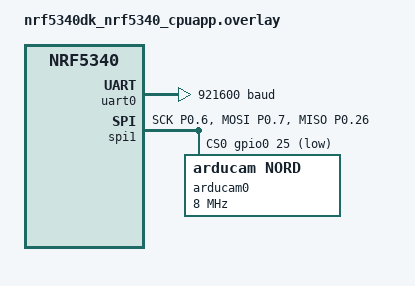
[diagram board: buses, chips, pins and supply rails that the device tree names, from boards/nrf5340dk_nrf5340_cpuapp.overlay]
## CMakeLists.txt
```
# Minimum required version must come first
cmake_minimum_required(VERSION 3.20.0)

# Tell Zephyr where your out-of-tree modules are BEFORE find_package
list(APPEND ZEPHYR_EXTRA_MODULES "C:/ncs/v3.2.0/modules/arducam_ble_wifi")

# Find Zephyr
find_package(Zephyr REQUIRED HINTS $ENV{ZEPHYR_BASE})
project(arducam_nord_wifi_ble_ncs)

# Add your application source files
file(GLOB app_sources src/*.c)
target_sources(app PRIVATE ${app_sources})

# Add your include directories
target_include_directories(app PRIVATE include)
```

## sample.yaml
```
tests:
  drivers.video.arducam_nord.build:
    tags:
      - video
      - camera
      - drivers
      - sysbuild

    platform_allow:
      - nrf5340dk_nrf5340_cpuapp

    integration_platforms:
      - nrf5340dk_nrf5340_cpuapp
```

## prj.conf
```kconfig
# SPDX-License-Identifier: LicenseRef-Nordic-5-Clause

#
# === Wi-Fi / SoftAP ===
#
CONFIG_WIFI=y
CONFIG_WIFI_NRF70=y
CONFIG_NRF70_SYSTEM_MODE=y
CONFIG_NRF70_AP_MODE=y
CONFIG_NRF70_SR_COEX=y
CONFIG_NRF70_SR_COEX_RF_SWITCH=y
CONFIG_WIFI_NM_WPA_SUPPLICANT=y
CONFIG_WIFI_NM_WPA_SUPPLICANT_AP=y
CONFIG_WIFI_NM_WPA_SUPPLICANT_LOG_LEVEL_ERR=y
CONFIG_WIFI_READY_LIB=y

CONFIG_WIFI_CREDENTIALS=y
CONFIG_WIFI_CREDENTIALS_STATIC=n
CONFIG_WIFI_CREDENTIALS_BACKEND_SETTINGS=y
CONFIG_FLASH=y
CONFIG_FLASH_PAGE_LAYOUT=y
CONFIG_FLASH_MAP=y
CONFIG_NVS=y
CONFIG_SETTINGS=y
CONFIG_SETTINGS_NVS=y

# SoftAP demo options
CONFIG_SOFTAP_SAMPLE_5GHz=y
CONFIG_SOFTAP_SAMPLE_CHANNEL=36
CONFIG_SOFTAP_SAMPLE_REG_DOMAIN="NO"
CONFIG_SOFTAP_SAMPLE_SSID="WiFi_Cam_Demo_AP"
CONFIG_SOFTAP_SAMPLE_PASSWORD="nRF7002DK"
CONFIG_SAMPLE_SCOKET_TCP=n

#
# === Shell ===
#
CONFIG_SHELL=y
CONFIG_SHELL_STACK_SIZE=4096
CONFIG_WIFI_CREDENTIALS_SHELL=y
CONFIG_SHELL_BACKEND_SERIAL=y
CONFIG_KERNEL_SHELL=n
CONFIG_DEVICE_SHELL=n
CONFIG_NET_SHELL=n

#
# === Networking ===
#
CONFIG_NETWORKING=y
CONFIG_NET_NATIVE=y
CONFIG_NET_CONNECTION_MANAGER=y
CONFIG_NET_MGMT=y
CONFIG_NET_MGMT_EVENT=y
CONFIG_NET_MGMT_EVENT_INFO=y
CONFIG_NET_MGMT_EVENT_STACK_SIZE=22000
CONFIG_NET_MGMT_EVENT_QUEUE_TIMEOUT=5000
CONFIG_NET_SOCKETS=y
CONFIG_NET_IPV4=y
CONFIG_NET_IPV6=n
CONFIG_NET_TCP=y
CONFIG_NET_UDP=y
CONFIG_NET_DHCPV4=y
CONFIG_NET_PKT_RX_COUNT=4
CONFIG_NET_PKT_TX_COUNT=4
CONFIG_NET_BUF_RX_COUNT=8
CONFIG_NET_BUF_TX_COUNT=8
CONFIG_NET_TC_TX_COUNT=1
CONFIG_NET_IF_UNICAST_IPV4_ADDR_COUNT=1
CONFIG_NET_MAX_CONTEXTS=5
CONFIG_NET_CONTEXT_SYNC_RECV=y
CONFIG_INIT_STACKS=y
CONFIG_NET_L2_ETHERNET=y

CONFIG_NET_CONFIG_SETTINGS=y
CONFIG_SETTINGS_RUNTIME=y
CONFIG_SETTINGS_DYNAMIC_HANDLERS=y
CONFIG_NET_SOCKETS_POLL_MAX=10
#CONFIG_NET_CONFIG_MY_IPV4_ADDR="192.168.1.1"
#CONFIG_NET_CONFIG_MY_IPV4_NETMASK="255.255.255.0"
#CONFIG_NET_CONFIG_MY_IPV4_GW="192.168.1.1"

#
# === Logging ===
#
CONFIG_LOG=y
CONFIG_LOG_DEFAULT_LEVEL=3
CONFIG_NET_LOG=y

#
# === DK Library ===
#
CONFIG_DK_LIBRARY=y

#
# === Bluetooth Host / Peripheral ===
#
CONFIG_BT=y
CONFIG_BT_PERIPHERAL=y
CONFIG_BT_GATT_CLIENT=y
CONFIG_BT_DEVICE_NAME="WiFi_BLE_Cam_Demo"
CONFIG_BT_DEVICE_APPEARANCE=833
CONFIG_BT_MAX_CONN=1
CONFIG_BT_MAX_PAIRED=1
CONFIG_BT_LBS=y
CONFIG_BT_HCI_VS=y
CONFIG_BT_USER_PHY_UPDATE=y
CONFIG_BT_USER_DATA_LEN_UPDATE=y
CONFIG_BT_SETTINGS=y

# BT Buffers - minimal safe values (BT present but not actively used)
# Rule: BT_BUF_EVT_RX_COUNT > BT_BUF_ACL_TX_COUNT
CONFIG_BT_BUF_ACL_RX_SIZE=69
CONFIG_BT_BUF_ACL_TX_SIZE=69
CONFIG_BT_BUF_ACL_TX_COUNT=3
CONFIG_BT_BUF_EVT_RX_COUNT=4
CONFIG_BT_ATT_PREPARE_COUNT=0
CONFIG_BT_L2CAP_TX_BUF_COUNT=3
CONFIG_BT_L2CAP_TX_MTU=65
CONFIG_BT_CONN_TX_MAX=3
CONFIG_BT_RX_STACK_SIZE=1024

#
# === Kernel / Memory ===
#
CONFIG_MAIN_STACK_SIZE=5200
CONFIG_SYSTEM_WORKQUEUE_STACK_SIZE=6144
CONFIG_NET_TX_STACK_SIZE=4096
CONFIG_NET_RX_STACK_SIZE=4096
CONFIG_HEAP_MEM_POOL_SIZE=102400
CONFIG_ENTROPY_GENERATOR=y

# Critical: BT enables MbedTLS heap but default size not enough for WiFi+BT
# From Nordic's WiFi+BT coex sample
CONFIG_MBEDTLS_HEAP_SIZE=8192
CONFIG_NRF_RPC=n
CONFIG_NRF_RPC_CBOR=n

#
# === GPIO / SPI ===
#
CONFIG_GPIO=y
CONFIG_SPI=y

#
# === Arducam Video ===
#
CONFIG_VIDEO=y
CONFIG_VIDEO_INIT_PRIORITY=72
CONFIG_VIDEO_BUFFER_POOL_SZ_MAX=8192
CONFIG_VIDEO_BUFFER_POOL_NUM_MAX=3

#
# === Console / Serial ===
#
CONFIG_CONSOLE=y
CONFIG_SERIAL=y
CONFIG_UART_CONSOLE=y
```

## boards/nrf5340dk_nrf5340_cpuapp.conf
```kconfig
# Create a board-specific file for the secure build target
# nrf5340dk_nrf5340_cpuapp.conf for ArduCAM NORD


CONFIG_WIFI_CREDENTIALS_BACKEND_SETTINGS=y
CONFIG_FLASH=y
CONFIG_FLASH_PAGE_LAYOUT=y
CONFIG_FLASH_MAP=y
CONFIG_NVS=y
CONFIG_SETTINGS=y

CONFIG_SETTINGS_NVS=y
```

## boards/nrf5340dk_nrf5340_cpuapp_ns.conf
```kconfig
# Create a board-specific file for the secure build target
# nrf5340dk_nrf5340_cpuapp_ns.conf for ArduCAM Mega
CONFIG_TFM_SECURE_UART=n
CONFIG_TFM_LOG_LEVEL_SILENCE=y

CONFIG_WIFI_CREDENTIALS_BACKEND_SETTINGS=y
CONFIG_FLASH=y
CONFIG_FLASH_PAGE_LAYOUT=y
CONFIG_FLASH_MAP=y
CONFIG_NVS=y
CONFIG_SETTINGS=y
CONFIG_SETTINGS_NVS=y
```

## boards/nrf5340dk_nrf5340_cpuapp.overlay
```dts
&i2c0 {	status = "disabled";};
&spi0 {	status = "disabled";};
&i2c1 {	status = "disabled";};

&uart0 {
    status = "okay";   /* console / logging */
    current-speed = <921600>;
};
	
&spi1 {
    label = "spi1";   // <-- KEEP THIS — matches DT_NODELABEL(spi1) in driver

    status = "okay";
    pinctrl-0 = <&spi1_default>;
    pinctrl-1 = <&spi1_sleep>;
    pinctrl-names = "default", "sleep";
    cs-gpios = <&gpio0 25 GPIO_ACTIVE_LOW>;

    arducam0: arducam@0 {
        compatible = "arducam,nord";
        reg = <0>;
        spi-max-frequency = <8000000>;
        label = "arducam0";   // for main.c
        status = "okay";
    };
};
&pinctrl {
	spi1_default: spi1_default {
		group1 {
				psels = <NRF_PSEL(SPIM_SCK, 0, 6)>,
						<NRF_PSEL(SPIM_MOSI, 0, 7)>,
						<NRF_PSEL(SPIM_MISO, 0, 26)>;
		};
	};

	spi1_sleep: spi1_sleep {
		group1 {
				psels = <NRF_PSEL(SPIM_SCK, 0, 6)>,
						<NRF_PSEL(SPIM_MOSI, 0, 7)>,
						<NRF_PSEL(SPIM_MISO, 0, 26)>;
				low-power-enable;
		};
	};
};
```

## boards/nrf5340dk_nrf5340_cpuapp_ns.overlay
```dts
&i2c0 {	status = "disabled";};
&spi0 {	status = "disabled";};
&i2c1 {	status = "disabled";};

&uart0 {
    status = "okay";   /* console / logging */
    current-speed = <921600>;
};
	
&spi1 {
    label = "spi1";   // <-- KEEP THIS — matches DT_NODELABEL(spi1) in driver

    status = "okay";
    pinctrl-0 = <&spi1_default>;
    pinctrl-1 = <&spi1_sleep>;
    pinctrl-names = "default", "sleep";
    cs-gpios = <&gpio0 25 GPIO_ACTIVE_LOW>;

    arducam0: arducam@0 {
        compatible = "arducam,nord";
        reg = <0>;
        spi-max-frequency = <8000000>;
        label = "arducam0";   // for main.c
        status = "okay";
    };
};
&pinctrl {
	spi1_default: spi1_default {
		group1 {
				psels = <NRF_PSEL(SPIM_SCK, 0, 6)>,
						<NRF_PSEL(SPIM_MOSI, 0, 7)>,
						<NRF_PSEL(SPIM_MISO, 0, 26)>;
		};
	};

	spi1_sleep: spi1_sleep {
		group1 {
				psels = <NRF_PSEL(SPIM_SCK, 0, 6)>,
						<NRF_PSEL(SPIM_MOSI, 0, 7)>,
						<NRF_PSEL(SPIM_MISO, 0, 26)>;
				low-power-enable;
		};
	};
};
```

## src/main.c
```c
/*
 * Copyright (c) 2024 Nordic Semiconductor ASA
 *
 * SPDX-License-Identifier: LicenseRef-Nordic-5-Clause
 */

/** @file
 * @brief WiFi Camera Demo
 */

#include <zephyr/logging/log.h>
LOG_MODULE_REGISTER(WiFiCam, CONFIG_LOG_DEFAULT_LEVEL);

#if defined(CLOCK_FEATURE_HFCLK_DIVIDE_PRESENT) || NRF_CLOCK_HAS_HFCLK192M
#include <nrfx_clock.h>
#endif

#include <stdio.h>
#include <zephyr/device.h>
#include <zephyr/kernel.h>
#include <drivers/video.h>
#include <drivers/video/arducam_nord.h>

#include "app_bluetooth.h"
#include "socket_util.h"

/**********External Resources START**************/
extern struct sockaddr_in pc_addr;
extern void app_bt_mark_camera_ready(void);
/**********External Resources END**************/

#define RESET_CAMERA 0XFF
#define SET_PICTURE_RESOLUTION 0X01
#define SET_VIDEO_RESOLUTION 0X02
#define SET_BRIGHTNESS 0X03
#define SET_CONTRAST 0X04
#define SET_SATURATION 0X05
#define SET_EV 0X06
#define SET_WHITEBALANCE 0X07
#define SET_SPECIAL_EFFECTS 0X08
#define SET_FOCUS_ENABLE 0X09
#define SET_EXPOSURE_GAIN_ENABLE 0X0A
#define SET_WHITE_BALANCE_ENABLE 0X0C
#define SET_MANUAL_GAIN 0X0D
#define SET_MANUAL_EXPOSURE 0X0E
#define GET_CAMERA_INFO 0X0F
#define TAKE_PICTURE 0X10
#define SET_SHARPNESS 0X11
#define DEBUG_WRITE_REGISTER 0X12
#define STOP_STREAM 0X21
#define GET_FRM_VER_INFO 0X30
#define GET_SDK_VER_INFO 0X40
#define SET_IMAGE_QUALITY 0X50
#define SET_LOWPOWER_MODE 0X60

#define NUM_BUFFERS 3
#define MAX_SPI_BURST 4096
#define DMA_BUF_SIZE  (MAX_SPI_BURST + 8)

/* DMA buffer allocation for Arducam Mega driver */
/* Works across NCS 2.7 → 3.2.1 and ensures proper alignment and linker section */

#include <zephyr/sys/util.h>   // for Z_ALIGNMENT_CHECK if needed

/* Define macros if missing in older versions */
#ifndef Z_DMA_ALIGN
#define Z_DMA_ALIGN __aligned(4)
#endif

#ifndef Z_DMA_SECTION
/* Use Zephyr’s recommended DMA section, falls back to .bss.dma */
#define Z_DMA_SECTION __attribute__((section(".bss.dma")))
#endif

/* DMA buffers */
static uint8_t dma_bufs[NUM_BUFFERS][DMA_BUF_SIZE] Z_DMA_ALIGN Z_DMA_SECTION;


struct video_buffer video_buffers[NUM_BUFFERS];
/*
** Arducam mega communication protocols
** https://www.arducam.com/docs/arducam-mega/arducam-mega-getting-started/packs/HostCommunicationProtocol.html
*/

const struct device *video;
struct video_buffer *vbuf;
static struct arducam_mega_info mega_info;

enum client_type {
	client_type_NONE,
	client_type_BLE,
	client_type_SOCKET
};

enum app_command_type {APPCMD_CAM_COMMAND, APPCMD_TAKE_PICTURE, APPCMD_START_STOP_STREAM, APPCMD_SOCKET_RX};

struct app_command_t {
	enum app_command_type type;
	enum client_type mode;
	uint8_t cam_cmd;
	uint8_t data[6];
};

K_MSGQ_DEFINE(msgq_app_commands, sizeof(struct app_command_t), 8, 4);

struct client_state {
	uint8_t req_stream : 1;
	uint8_t req_stream_stop : 1;
	uint8_t stream_active : 1;
};
struct client_state client_state_ble = {0};
struct client_state client_state_socket = {0};

static void on_timer_count_bytes_func(struct k_timer *timer);
K_TIMER_DEFINE(m_timer_count_bytes, on_timer_count_bytes_func, NULL);
static int counted_bytes_sent = 0;

/* actucal command not count start(0x55) and stop(0xAA) codes*/
uint8_t socket_head_and_tail[] = {0xff, 0xaa, 0x00, 0xff, 0xbb};

const uint32_t pixel_format_table[] = {
	VIDEO_PIX_FMT_JPEG,
	VIDEO_PIX_FMT_RGB565,
	VIDEO_PIX_FMT_YUYV,
};

const uint16_t resolution_table[][2] = {
	{160, 120},
	{320, 240},
	{640, 480},
	{800, 600},
	{1280, 720},
	{1280, 960},
	{1600, 1200},
	{1920, 1080},
	{2048, 1536},
	{2592, 1944},
	{96, 96},
	{128, 128},
	{320, 320},
};

const uint8_t resolution_num = sizeof(resolution_table) / 4;

static uint8_t current_resolution;
static uint8_t take_picture_fmt = 0x1a;

void cam_to_pc_command_send(uint8_t type, uint8_t *buffer, uint32_t length)
{
	socket_head_and_tail[2] = type;
	cam_send(&socket_head_and_tail, 3);
	if(length!=0){
		cam_send((uint8_t *)&length, 4);
		cam_send(buffer, length);
	}
	cam_send(&socket_head_and_tail[3], 2);
}

int set_mega_resolution(uint8_t sfmt, enum client_type source_client)
{
	uint8_t resolution = sfmt & 0x0f;
	uint8_t pixelformat = (sfmt & 0x70) >> 4;

	// If the source is the Bluetooth client, and one of the max resolutions are selected (3MP or 5MP), ensure the right max resolution is selected based on the connected camera type
	if (source_client == client_type_BLE && (resolution == 8 || resolution == 9)) {
		resolution = ((mega_info.camera_id == ARDUCAM_SENSOR_3MP_1 || mega_info.camera_id == ARDUCAM_SENSOR_3MP_2)) ? 8 : 9;
	}

	if (resolution > resolution_num || pixelformat > 3)
	{
		return -1;
	}
	struct video_format fmt = {.width = resolution_table[resolution][0],
							   .height = resolution_table[resolution][1],
							   .pixelformat = pixel_format_table[pixelformat - 1]};
	// If the resolution has changed, and the client that initiated the change was socket, notify the BLE client
	if (resolution != current_resolution) {
		if (source_client == client_type_SOCKET) {
			app_bt_send_client_status(((mega_info.camera_id == ARDUCAM_SENSOR_3MP_1 || mega_info.camera_id == ARDUCAM_SENSOR_3MP_2)) ? 1 : 2, resolution);
		} else if (source_client == client_type_BLE) {
			cam_to_pc_command_send(0x07, &resolution, sizeof(resolution));
		}
	}

	current_resolution = resolution;

	return video_set_format(video, VIDEO_EP_OUT, &fmt);
}

void cam_send_picture_data_socket(uint8_t *data, int length)
{
	counted_bytes_sent += length;
	while (length >= 1024) {
		cam_send(data, 1024); 
		data += 1024;
		length -= 1024;
	}
	if (length > 0) {
		cam_send(data, length); 
	}
}

void cam_send_picture_data_ble(uint8_t *data, int length)
{
	counted_bytes_sent += length;
	app_bt_send_picture_data(data, length);
}

static void client_request_single_capture(struct client_state *state)
{
	if (!state->stream_active) {
		state->req_stream = 1;
		state->req_stream_stop = 1;
	}
}

static void client_request_stream_start_stop(struct client_state *state, bool start)
{
	if (start) {
		state->req_stream = 1;
	} else {
		state->req_stream_stop = 1;
	}
}

static int client_check_start_request(struct client_state *state)
{
	if (state->req_stream && !state->stream_active) {
		state->req_stream = 0;
		state->stream_active = 1;
		return 1;
	}
	return 0;
}

static int client_check_stop_request(struct client_state *state)
{
	if (state->req_stream_stop && state->stream_active) {
		state->req_stream_stop = 0;
		state->stream_active = 0;
		return 1;
	}
	return 0;
}

void video_preview(void)
{
	int err;
	static bool capture_flag = false;
	enum video_frame_fragmented_status f_status;

	err = video_dequeue(video, VIDEO_EP_OUT, &vbuf, K_FOREVER);
	if (err)
	{
		LOG_INF("Unable to dequeue video buf");
		return;
	}
	f_status = vbuf->flags;
	
	LOG_DBG("CF1: f_status %i, bytesframe %i, bytesused %i. cf %i", f_status, vbuf->bytesframe, vbuf->bytesused, capture_flag);
	
	if (capture_flag)
	{
		capture_flag = false;

		client_check_start_request(&client_state_ble);
		client_check_start_request(&client_state_socket);

		if (client_state_ble.stream_active) {
			app_bt_send_picture_header(vbuf->bytesframe);
		} 
		if (client_state_socket.stream_active) {
			socket_head_and_tail[2] = 0x01;
			cam_send(&socket_head_and_tail[0], 3);
			cam_send((uint8_t *)&vbuf->bytesframe, 4);
			LOG_DBG("bytesframe:%d",vbuf->bytesframe);
		}
	}

	if (client_state_ble.stream_active) {
		cam_send_picture_data_ble(vbuf->buffer, vbuf->bytesused);
	} 
	if (client_state_socket.stream_active) {
		cam_send_picture_data_socket(vbuf->buffer, vbuf->bytesused);
		LOG_DBG("bytesused:%d",vbuf->bytesused);
	}

	if (f_status == VIDEO_BUF_EOF)
	{
		capture_flag = true;

		if (client_state_socket.stream_active) {
			cam_send(&socket_head_and_tail[3], 2);
		}

		client_check_stop_request(&client_state_ble);
		client_check_stop_request(&client_state_socket);	
	}

	err = video_enqueue(video, VIDEO_EP_OUT, vbuf);
	if (err)
	{
		LOG_ERR("Unable to requeue video buf");
		return;
	}
}

int report_mega_info(void)
{
	static char str_buf[400];
	uint32_t str_len;
	char *mega_type;

	switch (mega_info.camera_id)
	{
	case ARDUCAM_SENSOR_3MP_1:
	case ARDUCAM_SENSOR_3MP_2:
		mega_type = "3MP";
		break;
	case ARDUCAM_SENSOR_5MP_1:
		mega_type = "5MP";
		break;
	case ARDUCAM_SENSOR_5MP_2:
		mega_type = "5MP_2";
		break;
	default:
		return -ENODEV;
	}

	sprintf(str_buf,
			"ReportCameraInfo\r\nCamera Type:%s\r\n"
			"Camera Support Resolution:%d\r\nCamera Support "
			"special effects:%d\r\nCamera Support Focus:%d\r\n"
			"Camera Exposure Value Max:%ld\r\nCamera Exposure Value "
			"Min:%d\r\nCamera Gain Value Max:%d\r\nCamera Gain Value "
			"Min:%d\r\nCamera Support Sharpness:%d\r\n",
			mega_type, mega_info.support_resolution, mega_info.support_special_effects,
			mega_info.enable_focus, mega_info.exposure_value_max, mega_info.exposure_value_min,
			mega_info.gain_value_max, mega_info.gain_value_min, mega_info.enable_sharpness);
	printk("%s", str_buf);
	str_len = strlen(str_buf);
	cam_to_pc_command_send(0x02, str_buf, str_len);
	return 0;
}

uint8_t recv_process(uint8_t *buff)
{
	LOG_INF("recv_process: cmd %x, data %x", buff[0], buff[1]);
	switch (buff[0])
	{
	case SET_PICTURE_RESOLUTION:
		LOG_INF("camcmd: SET_PICTURE_RESOLUTION");
		if (set_mega_resolution(buff[1], client_type_SOCKET) == 0)
		{
			take_picture_fmt = buff[1];
		}
		break;
	case SET_VIDEO_RESOLUTION:
		LOG_INF("camcmd: SET_VIDEO_RESOLUTION");
		if (!client_state_socket.stream_active)
		{
			set_mega_resolution(buff[1] | 0x10, client_type_SOCKET);
			client_request_stream_start_stop(&client_state_socket, true);
		}
		break;
	case SET_BRIGHTNESS:
		video_set_ctrl(video, VIDEO_CID_CAMERA_BRIGHTNESS, &buff[1]);
		break;
	case SET_CONTRAST:
		video_set_ctrl(video, VIDEO_CID_CAMERA_CONTRAST, &buff[1]);
		break;
	case SET_SATURATION:
		video_set_ctrl(video, VIDEO_CID_CAMERA_SATURATION, &buff[1]);
		break;
	case SET_EV:
		video_set_ctrl(video, VIDEO_CID_ARDUCAM_EV, &buff[1]);
		break;
	case SET_WHITEBALANCE:
		video_set_ctrl(video, VIDEO_CID_CAMERA_WHITE_BAL, &buff[1]);
		break;
	case SET_SPECIAL_EFFECTS:
		video_set_ctrl(video, VIDEO_CID_ARDUCAM_COLOR_FX, &buff[1]);
		break;
	case SET_EXPOSURE_GAIN_ENABLE:
		video_set_ctrl(video, VIDEO_CID_CAMERA_EXPOSURE_AUTO, &buff[1]);
		video_set_ctrl(video, VIDEO_CID_CAMERA_GAIN_AUTO, &buff[1]);
	case SET_WHITE_BALANCE_ENABLE:
		video_set_ctrl(video, VIDEO_CID_CAMERA_WHITE_BAL_AUTO, &buff[1]);
		break;
	case SET_SHARPNESS:
		video_set_ctrl(video, VIDEO_CID_ARDUCAM_SHARPNESS, &buff[1]);
		break;
	case SET_MANUAL_GAIN:
		uint16_t gain_value = (buff[1] << 8) | buff[2];

		video_set_ctrl(video, VIDEO_CID_CAMERA_GAIN, &gain_value);
		break;
	case SET_MANUAL_EXPOSURE:
		uint32_t exposure_value = (buff[1] << 16) | (buff[2] << 8) | buff[3];

		video_set_ctrl(video, VIDEO_CID_CAMERA_EXPOSURE, &exposure_value);
		break;
	case GET_CAMERA_INFO:
		report_mega_info();
		break;
	case TAKE_PICTURE:
		LOG_INF("Take picture");
		client_request_single_capture(&client_state_socket);
		break;
	case STOP_STREAM:
		if (client_state_socket.stream_active)
		{
			LOG_INF("Stop video stream");
			client_request_stream_start_stop(&client_state_socket, false);
		}
		break;
	case RESET_CAMERA:
		video_set_ctrl(video, VIDEO_CID_ARDUCAM_RESET, NULL);
		break;
	case SET_IMAGE_QUALITY:
		video_set_ctrl(video, VIDEO_CID_JPEG_COMPRESSION_QUALITY, &buff[1]);
		break;
	case SET_LOWPOWER_MODE:
		video_set_ctrl(video, VIDEO_CID_ARDUCAM_LOWPOWER, &buff[1]);
		break;
	default:
		break;
	}

	return buff[0];
}

static void register_app_command(const struct app_command_t *command)
{
	if (k_msgq_put(&msgq_app_commands, command, K_NO_WAIT) != 0) {
		LOG_ERR("Command buffer full!");
	}
}

void app_bt_connected_callback(void)
{	
	LOG_INF("Bluetooth connection established");
	//cam_send command 0x08 to inform WiFi Host BLE client is connected.
	cam_to_pc_command_send(0x08, NULL,0);
}

void app_bt_ready_callback(void)
{
	LOG_INF("Bluetooth client ready");
	app_bt_send_client_status(((mega_info.camera_id == ARDUCAM_SENSOR_3MP_1 || mega_info.camera_id == ARDUCAM_SENSOR_3MP_2)) ? 1 : 2, current_resolution);
	
}

void app_bt_disconnected_callback(void)
{
	LOG_INF("Bluetooth disconnected");
	
	client_state_ble.req_stream = 0;
	client_state_ble.req_stream_stop = 0;
	client_state_ble.stream_active = 0;
	//cam_send command 0x09 to inform WiFi Host BLE client is disconnected.
	cam_to_pc_command_send(0x09, NULL,0);
}

void app_bt_take_picture_callback(void)
{
	static struct app_command_t cmd_take_picture = 
		{.type = APPCMD_TAKE_PICTURE, .mode = client_type_BLE,};
	register_app_command(&cmd_take_picture);
}

void app_bt_enable_stream_callback(bool enable)
{
	static struct app_command_t cmd_stream_start_stop = 
		{.type = APPCMD_START_STOP_STREAM, .mode = client_type_BLE,};
	cmd_stream_start_stop.data[0] = enable ? 1 : 0;
	register_app_command(&cmd_stream_start_stop);
}

void app_bt_change_resolution_callback(uint8_t resolution)
{
	static struct app_command_t cmd_take_picture = 
		{.type = APPCMD_CAM_COMMAND, 
		 .cam_cmd = SET_PICTURE_RESOLUTION};
	cmd_take_picture.data[0] = 0x10 | (resolution & 0xF);
	register_app_command(&cmd_take_picture);
}

const struct app_bt_cb app_bt_callbacks = {
	.connected = app_bt_connected_callback,
	.ready = app_bt_ready_callback,
	.disconnected = app_bt_disconnected_callback,
    .take_picture = app_bt_take_picture_callback,
	.enable_stream = app_bt_enable_stream_callback,
	.change_resolution = app_bt_change_resolution_callback,
};

static void on_timer_count_bytes_func(struct k_timer *timer)
{
	if (counted_bytes_sent > 0) {
		LOG_INF("Data transferred: %i kbps", (counted_bytes_sent * 8) / 1024);
		counted_bytes_sent = 0;
	}
}

void socket_rx_callback(uint8_t *data, uint16_t len)
{
	static struct app_command_t app_cmd_socket = {.type = APPCMD_SOCKET_RX};
	LOG_DBG("SOCKET RX callback");
	memcpy(app_cmd_socket.data, data, len);
	register_app_command(&app_cmd_socket);
}

int main(void)
{
	int ret;

#if defined(CLOCK_FEATURE_HFCLK_DIVIDE_PRESENT) || NRF_CLOCK_HAS_HFCLK192M

	/* hardcode to 128MHz */
	nrfx_clock_divider_set(NRF_CLOCK_DOMAIN_HFCLK, NRF_CLOCK_HFCLK_DIV_1);
#endif
	k_sleep(K_SECONDS(1));
	printk("Starting %s with CPU frequency: %d MHz\n", CONFIG_BOARD, SystemCoreClock / MHZ(1));

    video = DEVICE_DT_GET(DT_NODELABEL(arducam0));

    if (!device_is_ready(video)) {
    LOG_ERR("Video device %s not ready.", video->name);
    return -1;
    }
    


	video_stream_stop(video);
	LOG_INF("Device %s is ready!", video->name);

	video_get_ctrl(video, VIDEO_CID_ARDUCAM_INFO, &mega_info);

	ret = app_bt_init(&app_bt_callbacks);
	if (ret < 0) {
		LOG_ERR("Error initializing Bluetooth");
		return -1;
	}

	/* Signal to Bluetooth that camera is fully initialized and ready
	   This prevents a race condition where BT advertising work items
	   touch the camera subsystem before it's fully initialized */
	app_bt_mark_camera_ready();

	net_util_set_callback(socket_rx_callback);
	
	/* Initialize buffers */
	for (int i = 0; i < NUM_BUFFERS; i++) {
	    video_buffers[i].buffer  = dma_bufs[i];
	    video_buffers[i].size    = DMA_BUF_SIZE;
	    video_enqueue(video, VIDEO_EP_OUT, &video_buffers[i]);
	}

	k_timer_start(&m_timer_count_bytes, K_MSEC(1000), K_MSEC(1000));
	
	set_mega_resolution(0x11, client_type_NONE);

	video_stream_start(video);
	
	while (1) {
		struct app_command_t new_command;
		if (k_msgq_get(&msgq_app_commands, &new_command, K_USEC(50)) == 0) {
			switch (new_command.type) {
				case APPCMD_TAKE_PICTURE:
					LOG_INF("TAKE PICTURE");
					client_request_single_capture(&client_state_ble);
					break;
				case APPCMD_CAM_COMMAND:
					switch (new_command.cam_cmd) {
						case SET_PICTURE_RESOLUTION:
							LOG_INF("Change resolution to 0x%x", new_command.data[0]);
							set_mega_resolution(new_command.data[0], client_type_BLE);
							break;
					}
					break;
				case APPCMD_START_STOP_STREAM:
					bool enable = new_command.data[0] > 0; 
					
					if (enable) {
						LOG_INF("Starting stream!");
						client_request_stream_start_stop(&client_state_ble, true);
					} else {
						LOG_INF("Stopping stream");
						client_request_stream_start_stop(&client_state_ble, false);
					}
					break;
				case APPCMD_SOCKET_RX:
					uint8_t socket_cmd_buf[CAM_COMMAND_MAX_SIZE - 2];
					ret = process_socket_rx_buffer(new_command.data, socket_cmd_buf);
					if (ret > 0)
					{
						LOG_INF("Valid command received. Length:%d", ret);
						LOG_HEXDUMP_INF(socket_cmd_buf, ret, "Data: ");
						recv_process(socket_cmd_buf);
					}
					else
					{
						LOG_INF("Invalid SOCKET command received:%d", ret);
					}
					break;
			}
		}

		video_preview();
	}
	return 0;
}
```

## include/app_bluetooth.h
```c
#ifndef __APP_BLUETOOTH_H
#define __APP_BLUETOOTH_H

#include <zephyr/types.h>
#include <zephyr/kernel.h>

// Callbacks from the app_bluetooth module to the application
typedef void (*app_bt_connected_cb)(void);
typedef void (*app_bt_ready_cb)(void);
typedef void (*app_bt_disconnected_cb)(void);
typedef void (*app_bt_take_picture_cb)(void);
typedef void (*app_bt_enable_stream_cb)(bool enable);
typedef void (*app_bt_change_resolution_cb)(uint8_t resolution);

struct app_bt_cb {
    app_bt_connected_cb connected;
    app_bt_ready_cb ready;
    app_bt_disconnected_cb disconnected;
    app_bt_take_picture_cb take_picture;
    app_bt_enable_stream_cb enable_stream;
    app_bt_change_resolution_cb change_resolution;
};

int app_bt_init(const struct app_bt_cb *callbacks);

int app_bt_send_picture_header(uint32_t pic_size);

int app_bt_send_picture_data(uint8_t *buf, uint16_t len);

int app_bt_send_client_status(uint8_t cam_model, uint8_t resolution);

#endif
```

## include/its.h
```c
/*
 * Copyright (c) 2018 Nordic Semiconductor ASA
 *
 * SPDX-License-Identifier: LicenseRef-Nordic-5-Clause
 */

#ifndef __BT_ITS_H
#define __BT_ITS_H

#ifdef __cplusplus
extern "C" {
#endif

#include <zephyr/types.h>

#define BT_UUID_ITS_VAL \
	BT_UUID_128_ENCODE(0x6E400001, 0xB5A3, 0xF393, 0xE0A9, 0xE50E24DCCA3E)

#define BT_UUID_ITS_TX_VAL \
	BT_UUID_128_ENCODE(0x6E400003, 0xB5A3, 0xF393, 0xE0A9, 0xE50E24DCCA3E)

#define BT_UUID_ITS_RX_VAL \
	BT_UUID_128_ENCODE(0x6E400002, 0xB5A3, 0xF393, 0xE0A9, 0xE50E24DCCA3E)

#define BT_UUID_ITS_IMG_INFO_VAL \
	BT_UUID_128_ENCODE(0x6E400004, 0xB5A3, 0xF393, 0xE0A9, 0xE50E24DCCA3E)

#define BT_UUID_ITS           BT_UUID_DECLARE_128(BT_UUID_ITS_VAL)
#define BT_UUID_ITS_TX    	  BT_UUID_DECLARE_128(BT_UUID_ITS_TX_VAL)
#define BT_UUID_ITS_RX        BT_UUID_DECLARE_128(BT_UUID_ITS_RX_VAL)
#define BT_UUID_ITS_IMG_INFO  BT_UUID_DECLARE_128(BT_UUID_ITS_IMG_INFO_VAL)

enum its_rx_cmd_e {ITS_RX_CMD_SINGLE_CAPTURE = 1, 
				   ITS_RX_CMD_START_STREAM, 
				   ITS_RX_CMD_STOP_STREAM,
				   ITS_RX_CMD_CHANGE_RESOLUTION, 
				   ITS_RX_CMD_CHANGE_PHY,
				   ITS_RX_CMD_SEND_BLE_PARAMS};

struct its_rx_cb_evt_t {
	enum its_rx_cmd_e command;
	uint8_t *data;
	uint32_t len;
};

/** @brief Callback type for when the ITS service is ready */
typedef void (*its_ready_cb_t)(void);

/** @brief Callback type for when RX data is received. */
typedef void (*its_rx_cb_t)(struct its_rx_cb_evt_t *evt);

/** @brief Callback struct used by the ITS Service. */
struct bt_its_cb {
	/** ITS Ready callback */
	its_ready_cb_t ready_cb;
	
	/** ITS RX callback. */
	its_rx_cb_t rx_cb;
};

enum its_img_info_data_type_e {ITS_IMG_INFO_DATA_TYPE_IMG_INFO = 1, ITS_IMG_INFO_DATA_TYPE_BLE_PARAMS = 2, ITS_IMG_INFO_DATA_TYPE_CLIENT_STATUS = 3};

struct its_img_info_t {
    uint32_t file_size_bytes;   
};

struct its_ble_params_info_t {
    uint16_t mtu;
    uint16_t con_interval;
    uint8_t  tx_phy;
    uint8_t  rx_phy;
};

enum its_camera_type_e {ITS_CAM_TYPE_3MP = 1, ITS_CAM_TYPE_5MP = 2};

struct its_client_status_t {
	uint8_t camera_type;
	uint8_t selected_resolution_index;
};

int bt_its_init(struct bt_its_cb *callbacks);

int bt_its_send_img_data(struct bt_conn *conn, uint8_t *buf, uint16_t length, uint16_t le_max_length);

int bt_its_send_img_info(struct its_img_info_t *img_info);

int bt_its_send_ble_params_info(struct its_ble_params_info_t *ble_params_info);

int bt_its_send_client_status(struct its_client_status_t *client_status);

#ifdef __cplusplus
}
#endif

#endif /* BT_ITS_H_ */
```

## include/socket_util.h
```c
#ifndef __SOCKET_UTIL_H
#define __SOCKET_UTIL_H

#include <zephyr/kernel.h>

#define CAM_COMMAND_MAX_SIZE 6

enum wifi_modes {
	WIFI_STATION_MODE = 0,
    WIFI_SOFTAP_MODE,
};

typedef void (*net_util_socket_rx_callback_t)(uint8_t *data, uint16_t len);

void net_util_set_callback(net_util_socket_rx_callback_t socket_rx_callback);
void cam_send(const void *buf, size_t len);

uint8_t process_socket_rx_buffer(char *udp_rx_buf, char *command_buf);

#endif
```

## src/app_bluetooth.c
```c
#include "app_bluetooth.h"

#include <zephyr/kernel.h>
#include <zephyr/logging/log.h>

#include <zephyr/bluetooth/bluetooth.h>
#include <zephyr/bluetooth/gap.h>
#include <zephyr/bluetooth/conn.h>
#include <zephyr/bluetooth/gatt.h>
#include <zephyr/bluetooth/uuid.h>
#include <zephyr/settings/settings.h>
#include <bluetooth/services/lbs.h>
#include "its.h"

LOG_MODULE_REGISTER(app_bluetooth, LOG_LEVEL_INF);

#define DEVICE_NAME CONFIG_BT_DEVICE_NAME
#define DEVICE_NAME_LEN (sizeof(DEVICE_NAME) - 1)

/* Connection parameters */
static const struct bt_le_conn_param *conn_param = BT_LE_CONN_PARAM(9, 9, 0, 400);
static struct bt_conn *current_conn;

/* Application callbacks */
static app_bt_connected_cb app_callback_connected;
static app_bt_ready_cb app_callback_ready;
static app_bt_disconnected_cb app_callback_disconnected;
static app_bt_take_picture_cb app_callback_take_picture;
static app_bt_enable_stream_cb app_callback_enable_stream;
static app_bt_change_resolution_cb app_callback_change_resolution;

/* ITS BLE params */
static struct its_ble_params_info_t ble_params_info = {
    .con_interval = 0, .mtu = 23, .tx_phy = 1, .rx_phy = 1
};
static int le_tx_data_length = 20;

/* Semaphore to wait for bt_enable to complete over IPC */
static K_SEM_DEFINE(bt_init_ok, 0, 1);

/* Atomic flags for camera and BT readiness - prevents race where BT advertising
   triggers work items that touch uninitialized camera subsystem */
static atomic_t bt_ready_flag = 0;
static atomic_t cam_ready_flag = 0;
static atomic_t adv_started_flag = 0;

/* Internal commands for BLE/ITS handling */
enum app_bt_internal_commands {
    APP_BT_INT_ITS_RX_EVT,
    APP_BT_INT_SCHEDULE_CONNECTED_CB,
    APP_BT_INT_SCHEDULE_READY_CB,
    APP_BT_INT_SCHEDULE_DISCONNECTED_CB,
    APP_BT_INT_SCHEDULE_BLE_PARAMS_INFO_UPDATE
};

static struct its_rx_cb_evt_t internal_command_evt;
struct app_bt_command {
    enum app_bt_internal_commands command;
    struct its_rx_cb_evt_t its_rx_event;
};
K_MSGQ_DEFINE(msgq_its_rx_commands, sizeof(struct app_bt_command), 8, 4);

/* Advertising data */
static const struct bt_data ad[] = {
    BT_DATA_BYTES(BT_DATA_FLAGS, (BT_LE_AD_GENERAL | BT_LE_AD_NO_BREDR)),
    BT_DATA(BT_DATA_NAME_COMPLETE, DEVICE_NAME, DEVICE_NAME_LEN),
};

static const struct bt_data sd[] = {
    BT_DATA_BYTES(BT_DATA_UUID128_ALL, BT_UUID_ITS_VAL),
};

/* Forward declarations */
static void advertising_start(void);
static struct k_work adv_work;

/* Internal command scheduling */
static int schedule_internal_command(enum app_bt_internal_commands command)
{
    internal_command_evt.command = command;
    if (k_msgq_put(&msgq_its_rx_commands, &internal_command_evt, K_NO_WAIT) != 0) {
        LOG_ERR("RX cmd message queue full!");
        return -ENOMEM;
    }
    return 0;
}

void schedule_ble_params_info_update(void)
{
    schedule_internal_command(APP_BT_INT_SCHEDULE_BLE_PARAMS_INFO_UPDATE);
}

/* Forward declaration of gate function */
static void try_start_adv(void);

/* bt_enable async callback - signals semaphore when net core IPC is ready */
static void bt_ready(int err)
{
    if (err) {
        LOG_WRN("bt_ready err %d - ignoring 0x0c33 known nCS3 issue", err);
    }
    
    atomic_set(&bt_ready_flag, 1);
    LOG_INF("BT stack ready flag set");
    
    k_sem_give(&bt_init_ok);
    
    /* Check if camera is already ready so we can start advertising */
    try_start_adv();
}

/* GATT callbacks */
void att_mtu_updated(struct bt_conn *conn, uint16_t tx, uint16_t rx)
{
    LOG_INF("MTU Updated: tx %d, rx %d", tx, rx);
}

static void mtu_exchange_cb(struct bt_conn *conn, uint8_t err,
                             struct bt_gatt_exchange_params *params)
{
    if (err) {
        LOG_WRN("MTU exchange failed (err %d)", err);
    } else {
        LOG_INF("MTU exchange done, MTU: %d", bt_gatt_get_mtu(conn));
    }
}

static struct bt_gatt_cb gatt_cb = {
    .att_mtu_updated = att_mtu_updated,
};

/* Connection callbacks */
static void connected(struct bt_conn *conn, uint8_t err)
{
    char addr[BT_ADDR_LE_STR_LEN];

    if (err) {
        LOG_ERR("Connection failed (err %u)", err);
        return;
    }

    bt_addr_le_to_str(bt_conn_get_dst(conn), addr, sizeof(addr));
    LOG_INF("Connected %s", addr);

    current_conn = bt_conn_ref(conn);

    static struct bt_gatt_exchange_params exchange_params;
    exchange_params.func = mtu_exchange_cb;

    err = bt_gatt_exchange_mtu(conn, &exchange_params);
    if (err) {
        LOG_WRN("MTU exchange request failed (err %d)", err);
    }

    err = bt_conn_le_param_update(conn, conn_param);
    if (err) {
        LOG_ERR("Cannot update connection parameter (err: %d)", err);
    }

    schedule_internal_command(APP_BT_INT_SCHEDULE_CONNECTED_CB);
}

static void disconnected(struct bt_conn *conn, uint8_t reason)
{
    char addr[BT_ADDR_LE_STR_LEN];
    bt_addr_le_to_str(bt_conn_get_dst(conn), addr, sizeof(addr));
    LOG_INF("Disconnected: %s (reason %u)", addr, reason);

    if (current_conn) {
        bt_conn_unref(current_conn);
        current_conn = NULL;
    }

    schedule_internal_command(APP_BT_INT_SCHEDULE_DISCONNECTED_CB);
}

static void connection_param_update(struct bt_conn *conn, uint16_t interval, uint16_t latency, uint16_t timeout)
{
    LOG_INF("Con params updated. Interval %d ms, latency %i, timeout %i ms",
            (int)((float)interval * 1.25f), latency, timeout * 10);
    ble_params_info.con_interval = interval;
    schedule_ble_params_info_update();
}

static void le_phy_updated(struct bt_conn *conn, struct bt_conn_le_phy_info *param)
{
    LOG_INF("LE PHY updated: TX PHY %i, RX PHY %i", param->tx_phy, param->rx_phy);
    ble_params_info.tx_phy = param->tx_phy;
    ble_params_info.rx_phy = param->rx_phy;
    schedule_ble_params_info_update();
}

/* Advertising logic */
static const struct bt_le_adv_param *adv_param = BT_LE_ADV_PARAM(
    (BT_LE_ADV_OPT_CONN | BT_LE_ADV_OPT_USE_IDENTITY),
    BT_GAP_ADV_FAST_INT_MIN_1,
    BT_GAP_ADV_FAST_INT_MAX_1,
    NULL);

/* Gate function: only start advertising when BOTH BT and camera are ready */
static void try_start_adv(void)
{
    if (!atomic_get(&bt_ready_flag)) {
        LOG_DBG("try_start_adv: BT not ready yet (CAM=%ld)", atomic_get(&cam_ready_flag));
        return;
    }

    if (!atomic_get(&cam_ready_flag)) {
        LOG_DBG("try_start_adv: Camera not ready yet (BT=%ld)", atomic_get(&bt_ready_flag));
        return;
    }

    /* One-shot guard: only call bt_le_adv_start once */
    if (!atomic_cas(&adv_started_flag, 0, 1)) {
        LOG_DBG("Advertising already started");
        return;
    }

    printk("try_start_adv: Both ready! BT=%ld CAM=%ld - Starting advertising\n",
           atomic_get(&bt_ready_flag), atomic_get(&cam_ready_flag));

    int err = bt_le_adv_start(adv_param, ad, ARRAY_SIZE(ad), sd, ARRAY_SIZE(sd));
    if (err) {
        LOG_ERR("Advertising failed to start (err %d)", err);
        /* Reset flag so we can retry */
        atomic_set(&adv_started_flag, 0);
        return;
    }
    LOG_INF("Advertising successfully started");
}

static void adv_work_handler(struct k_work *work)
{
    LOG_DBG("adv_work_handler: Checking if both subsystems ready");
    try_start_adv();
}

static void advertising_start(void)
{
    k_work_submit(&adv_work);
}

static void recycled_cb(void)
{
    LOG_INF("Previous connection object recycled, restarting advertising");
    if (current_conn == NULL) {
        advertising_start();
    }
}

/* Single combined connection callbacks - two BT_CONN_CB_DEFINE blocks cause null ptr crash in nCS 3.x */
BT_CONN_CB_DEFINE(conn_callbacks) = {
    .connected = connected,
    .disconnected = disconnected,
    .le_param_updated = connection_param_update,
    .le_phy_updated = le_phy_updated,
    .recycled = recycled_cb,
};

/* ITS callbacks */
void its_ready_callback(void)
{
    struct app_bt_command bt_cmd = {.command = APP_BT_INT_SCHEDULE_READY_CB};
    if (k_msgq_put(&msgq_its_rx_commands, &bt_cmd, K_NO_WAIT) != 0) {
        LOG_ERR("APP BT RX CMD queue full");
    }
}

void its_rx_callback(struct its_rx_cb_evt_t *evt)
{
    struct app_bt_command bt_cmd = {.command = APP_BT_INT_ITS_RX_EVT};
    bt_cmd.its_rx_event = *evt;
    if (k_msgq_put(&msgq_its_rx_commands, &bt_cmd, K_NO_WAIT) != 0) {
        LOG_ERR("APP BT RX CMD queue full");
    }
}

static struct bt_its_cb its_cb = {
    .ready_cb = its_ready_callback,
    .rx_cb = its_rx_callback,
};

/* BT message handling thread */
static void app_bt_thread_func(void)
{
    int err;
    struct app_bt_command app_cmd;

    while (1) {
        k_msgq_get(&msgq_its_rx_commands, &app_cmd, K_FOREVER);

        if (app_cmd.command == APP_BT_INT_ITS_RX_EVT) {
            switch (app_cmd.its_rx_event.command) {
                case ITS_RX_CMD_SINGLE_CAPTURE:
                    if (app_callback_take_picture) app_callback_take_picture();
                    break;
                case ITS_RX_CMD_START_STREAM:
                    if (app_callback_enable_stream) app_callback_enable_stream(true);
                    break;
                case ITS_RX_CMD_STOP_STREAM:
                    if (app_callback_enable_stream) app_callback_enable_stream(false);
                    break;
                case ITS_RX_CMD_CHANGE_RESOLUTION:
                    if (app_callback_change_resolution)
                        app_callback_change_resolution(app_cmd.its_rx_event.data[0]);
                    break;
                case ITS_RX_CMD_CHANGE_PHY:
                    if (current_conn) {
                        err = bt_conn_le_phy_update(current_conn,
                            (app_cmd.its_rx_event.data[0] == 1) ? BT_CONN_LE_PHY_PARAM_2M : BT_CONN_LE_PHY_PARAM_1M);
                        if (err) LOG_ERR("PHY update failed: %d", err);
                    }
                    break;
                default:
                    LOG_ERR("Invalid ITS RX command");
                    break;
            }
        } else {
            switch (app_cmd.command) {
                case APP_BT_INT_SCHEDULE_CONNECTED_CB:
                    if (app_callback_connected) app_callback_connected();
                    break;
                case APP_BT_INT_SCHEDULE_READY_CB:
                    if (app_callback_ready) app_callback_ready();
                    break;
                case APP_BT_INT_SCHEDULE_DISCONNECTED_CB:
                    if (app_callback_disconnected) app_callback_disconnected();
                    break;
                case APP_BT_INT_SCHEDULE_BLE_PARAMS_INFO_UPDATE:
                    err = bt_its_send_ble_params_info(&ble_params_info);
                    if (err) LOG_ERR("Error sending BLE params");
                    break;
                default:
                    break;
            }
        }
    }
}

/* Public API: Call this from main/camera init when camera is fully ready */
void app_bt_mark_camera_ready(void)
{
    atomic_set(&cam_ready_flag, 1);
    LOG_INF("Camera ready flag set");
    printk("app_bt_mark_camera_ready: CAM=1, BT=%ld\n", atomic_get(&bt_ready_flag));
    
    /* Check if BT is already ready so we can start advertising */
    try_start_adv();
}

int app_bt_init(const struct app_bt_cb *callbacks)
{
    if (callbacks) {
        app_callback_connected = callbacks->connected;
        app_callback_ready = callbacks->ready;
        app_callback_disconnected = callbacks->disconnected;
        app_callback_take_picture = callbacks->take_picture;
        app_callback_enable_stream = callbacks->enable_stream;
        app_callback_change_resolution = callbacks->change_resolution;
    }

    /* On nRF5340, bt_enable is async over IPC - must use callback and wait */
    int err = bt_enable(bt_ready);
    if (err) {
        LOG_ERR("bt_enable failed (err %d)", err);
        return err;
    }

    /* Wait for net core controller to be ready via IPC */
    k_sem_take(&bt_init_ok, K_FOREVER);


LOG_INF("Bluetooth initialized (continuing past known 0x0c33 warning)");

    bt_gatt_cb_register(&gatt_cb);

    if (IS_ENABLED(CONFIG_SETTINGS)) {
        settings_load();
    }

    err = bt_its_init(&its_cb);
    if (err) {
        LOG_ERR("Failed to initialize Image Transfer Service (err: %d)", err);
        return err;
    }

    k_work_init(&adv_work, adv_work_handler);
    advertising_start();

    return 0;
}

int app_bt_send_picture_header(uint32_t pic_size)
{
    struct its_img_info_t img_info = {.file_size_bytes = pic_size};
    return bt_its_send_img_info(&img_info);
}

int app_bt_send_picture_data(uint8_t *buf, uint16_t len)
{
    return bt_its_send_img_data(current_conn, buf, len, le_tx_data_length);
}

int app_bt_send_client_status(uint8_t cam_model, uint8_t resolution)
{
    struct its_client_status_t client_status = {
        .camera_type = cam_model,
        .selected_resolution_index = resolution
    };
    return bt_its_send_client_status(&client_status);
}

K_THREAD_DEFINE(app_bt_thread, 2048, app_bt_thread_func, NULL, NULL, NULL,
                K_PRIO_PREEMPT(K_LOWEST_APPLICATION_THREAD_PRIO), 0, 0);
```

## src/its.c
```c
/*
 * Copyright (c) 2018 Nordic Semiconductor ASA
 *
 * SPDX-License-Identifier: LicenseRef-Nordic-5-Clause
 */

/** @file
 *  @brief LED Button Service (ITS) sample
 */

#include <zephyr/types.h>
#include <stddef.h>
#include <string.h>
#include <errno.h>
#include <zephyr/sys/printk.h>
#include <zephyr/sys/byteorder.h>
#include <zephyr/kernel.h>

#include <zephyr/bluetooth/bluetooth.h>
#include <zephyr/bluetooth/hci.h>
#include <zephyr/bluetooth/conn.h>
#include <zephyr/bluetooth/uuid.h>
#include <zephyr/bluetooth/gatt.h>

#include "its.h"

#include <zephyr/logging/log.h>

LOG_MODULE_REGISTER(bt_its, LOG_LEVEL_INF);

static bool                   notify_enabled[2];
static struct bt_its_cb       its_cb;
static struct its_rx_cb_evt_t cb_evt;
static struct its_ble_params_info_t scheduled_params = {.con_interval = 0};

static void its_tx_ccc_changed(const struct bt_gatt_attr *attr,
				  uint16_t value)
{
	LOG_DBG("Notify updated on TX char, handle %i, value %i", attr->handle, value);
	notify_enabled[0] = (value == BT_GATT_CCC_NOTIFY);
}

static void its_img_info_ccc_changed(const struct bt_gatt_attr *attr,
				  uint16_t value)
{
	LOG_DBG("Notify updated on img info char, handle %i, value %i", attr->handle, value);
	notify_enabled[1] = (value == BT_GATT_CCC_NOTIFY);
	if (scheduled_params.con_interval != 0) {
		bt_its_send_ble_params_info(&scheduled_params);
		scheduled_params.con_interval = 0;
	}
	if (its_cb.ready_cb) {
		its_cb.ready_cb();
	}
}

static ssize_t its_rx_received(struct bt_conn *conn,
			 const struct bt_gatt_attr *attr,
			 const void *buf,
			 uint16_t len, uint16_t offset, uint8_t flags)
{
	LOG_DBG("Attribute write, handle: %u, conn: %p", attr->handle,
		(void *)conn);

	if (offset != 0) {
		LOG_DBG("Write RX char: Incorrect data offset");
		return BT_GATT_ERR(BT_ATT_ERR_INVALID_OFFSET);
	}

	uint8_t *byte_ptr = (uint8_t*)buf;

	if (its_cb.rx_cb) {
		cb_evt.command = byte_ptr[0];
		cb_evt.data = &byte_ptr[1];
		cb_evt.len = len - 1;
		its_cb.rx_cb(&cb_evt);
	}

	return len;
}

#ifdef CONFIG_BT_ITS_POLL_BUTTON
static ssize_t read_button(struct bt_conn *conn,
			  const struct bt_gatt_attr *attr,
			  void *buf,
			  uint16_t len,
			  uint16_t offset)
{
	const char *value = attr->user_data;

	LOG_DBG("Attribute read, handle: %u, conn: %p", attr->handle,
		(void *)conn);

	if (its_cb.button_cb) {
		button_state = its_cb.button_cb();
		return bt_gatt_attr_read(conn, attr, buf, len, offset, value,
					 sizeof(*value));
	}

	return 0;
}
#endif

/* LED Button Service Declaration */
BT_GATT_SERVICE_DEFINE(its_svc,
BT_GATT_PRIMARY_SERVICE(BT_UUID_ITS), 					    // Attr index: 0
	BT_GATT_CHARACTERISTIC(BT_UUID_ITS_TX,					// Attr index: 1,2
			       BT_GATT_CHRC_READ | BT_GATT_CHRC_NOTIFY,
			       BT_GATT_PERM_READ, NULL, NULL, NULL),
	BT_GATT_CCC(its_tx_ccc_changed,							// Attr index: 3
		    BT_GATT_PERM_READ | BT_GATT_PERM_WRITE),
	BT_GATT_CHARACTERISTIC(BT_UUID_ITS_RX,					// Attr index: 4,5
			       BT_GATT_CHRC_WRITE,
			       BT_GATT_PERM_WRITE,
			       NULL, its_rx_received, NULL),
	BT_GATT_CHARACTERISTIC(BT_UUID_ITS_IMG_INFO,			// Attr index: 6,7
			       BT_GATT_CHRC_READ | BT_GATT_CHRC_NOTIFY,
			       BT_GATT_PERM_READ, NULL, NULL, NULL),
	BT_GATT_CCC(its_img_info_ccc_changed,				    // Attr index: 8
		    BT_GATT_PERM_READ | BT_GATT_PERM_WRITE),
);

int bt_its_init(struct bt_its_cb *callbacks)
{
	if (callbacks) {
		its_cb.ready_cb = callbacks->ready_cb;
		its_cb.rx_cb = callbacks->rx_cb;
	}

	return 0;
}

int bt_its_send_img_data(struct bt_conn *conn, uint8_t *buf, uint16_t length, uint16_t le_max_length)
{
	int err;
	uint8_t *current_buf = buf;

	LOG_DBG("IMG buf length %i", length);
	while (length > le_max_length) {
		LOG_DBG("Notify TX: Len %i, Remaining: %i", le_max_length, length);
		err = bt_gatt_notify(NULL, &its_svc.attrs[2], current_buf, le_max_length);
		if (err < 0) {
			LOG_ERR("BT notify error: %i", err);
		}
		current_buf += le_max_length;
		length -= le_max_length;
	}

	LOG_DBG("Notify TX remaining %i bytes", length);
	err = bt_gatt_notify(NULL, &its_svc.attrs[2], current_buf, length);
	if (err < 0) {
		LOG_ERR("BT notify error: %i", err);
	}

	return 0;
}

int bt_its_send_img_info(struct its_img_info_t * img_info)
{
	uint8_t notify_buf[1 + sizeof(struct its_img_info_t)];

	if (!notify_enabled[1]) {
		return -EACCES;
	}

	notify_buf[0] = ITS_IMG_INFO_DATA_TYPE_IMG_INFO;
	memcpy(&notify_buf[1], img_info, sizeof(struct its_img_info_t));
	
	LOG_DBG("IMG info Notify TX %i bytes. Img size: %i", 1 + sizeof(struct its_img_info_t), img_info->file_size_bytes);

	return bt_gatt_notify(NULL, &its_svc.attrs[7], 
						  notify_buf, 1 + sizeof(struct its_img_info_t));
}

int bt_its_send_client_status(struct its_client_status_t * client_status)
{
	uint8_t data_size = sizeof(struct its_client_status_t);
	uint8_t notify_buf[data_size + 1];

	if (!notify_enabled[1]) {
		return -EACCES;
	}

	notify_buf[0] = ITS_IMG_INFO_DATA_TYPE_CLIENT_STATUS;
	memcpy(&notify_buf[1], client_status, data_size);
	
	LOG_DBG("Client status Notify TX %i bytes. Cam model %i, resolution: %i", data_size + 1, 
			client_status->camera_type, client_status->selected_resolution_index);

	return bt_gatt_notify(NULL, &its_svc.attrs[7], notify_buf, data_size + 1);
}

int bt_its_send_ble_params_info(struct its_ble_params_info_t* ble_params_info)
{
	uint8_t notify_buf[1 + sizeof(struct its_ble_params_info_t)];

	if (!notify_enabled[1]) {
		// If notifications have not yet been enabled, schedule the params to be sent later
		scheduled_params = *ble_params_info;
		LOG_DBG("Scheduling params info for later");
		
		return 0;
	}

	notify_buf[0] = ITS_IMG_INFO_DATA_TYPE_BLE_PARAMS;
	memcpy(&notify_buf[1], ble_params_info, sizeof(struct its_ble_params_info_t));
	
	LOG_DBG("BLE params Notify TX %i bytes",  1 + sizeof(struct its_ble_params_info_t));
	
	return bt_gatt_notify(NULL, &its_svc.attrs[7], 
						  notify_buf, 1 + sizeof(struct its_ble_params_info_t));
}
```
